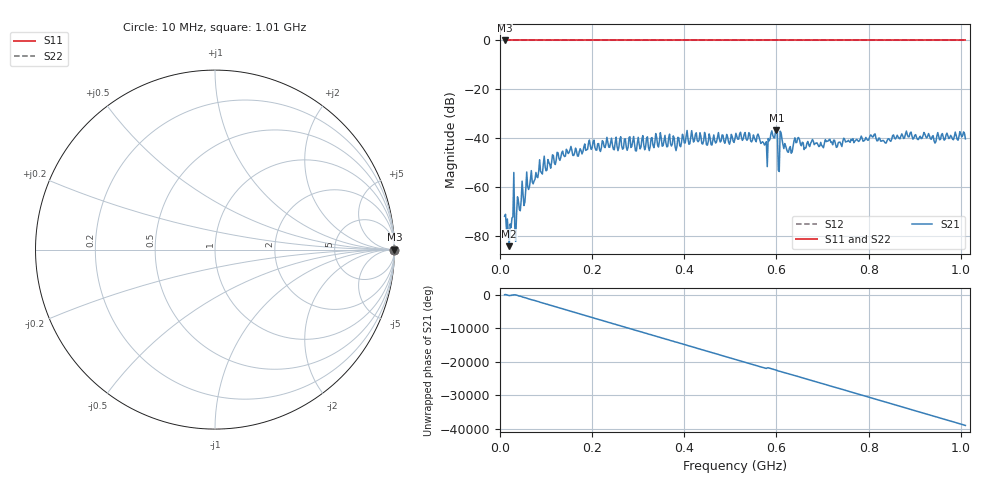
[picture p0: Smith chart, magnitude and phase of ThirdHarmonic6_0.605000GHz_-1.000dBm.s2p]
! 8/15/2025 7:47:39 PM
! C:\ANRITSUVNA\TEMP\TEMP.S2P
! CHANNEL.1
! TR.MEASUREMENT
! RAW.DATA
! RF.CORRECTION.OFF
! AVERAGING.OFF
! IF.BANDWIDTH: 5KHZ
! SWEEPTYPE:  FREQ.SWEEP(Linear)
! Reference Plane Port Info
! PORT:  PORT1  PORT2
! DISTANCE:  0  m  0  m
! TIME:  0  s  0  s
! PHASE.OFFSET:  0  deg.  0  deg.
! LOSS:  0  dB  0  dB
! REF.LOSS:  0  dB  0  dB
! REF.FREQ:  0  Hz  0  Hz
! Power Info
! POWER:  -20  dBm  -20  dBm
! EFF.POWER:  -20  dBm  -20  dBm
! SOURCE.ATTEN:  0  dB  0  dB
! TEST.ATTEN:  0  dB  0  dB
# GHZ S RI R 50.0
! FREQ.GHZ  S11RE  S11IM  S21RE  S21IM  S12RE  S12IM  S22RE  S22IM
!; PortSelection: Port_12
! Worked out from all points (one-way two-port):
!   501 points, 10 MHz to 1.01 GHz, reference 50 ohm
!   highest |S21| = -36.74 dB at 600 MHz (marker M1); lowest = -84.2 dB at 20 MHz (marker M2)
!   lowest |S11| = 0.0 dB at 10 MHz (marker M3)
!   |S11| at or under -10 dB: nowhere
!   |S22| runs from 0.0 to 0.0 dB; largest |S21 - S12| = 1
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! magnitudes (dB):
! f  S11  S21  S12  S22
! 10 MHz  0.0  -72.0  0.0  0.0
! 20 MHz  0.0  -84.2  0.0  0.0
! 24 MHz  0.0  -76.6  0.0  0.0
! 26 MHz  0.0  -72.7  0.0  0.0
! 36 MHz  0.0  -71.0  0.0  0.0
! 60 MHz  0.0  -59.8  0.0  0.0
! 82 MHz  0.0  -56.2  0.0  0.0
! 178 MHz  0.0  -46.5  0.0  0.0
! 344 MHz  0.0  -43.6  0.0  0.0
! 510 MHz  0.0  -40.1  0.0  0.0
! 560 MHz  0.0  -38.3  0.0  0.0
! 576 MHz  0.0  -42.4  0.0  0.0
! 586 MHz  0.0  -40.4  0.0  0.0
! 600 MHz  0.0  -36.7  0.0  0.0
! 602 MHz  0.0  -37.7  0.0  0.0
! 608 MHz  0.0  -37.1  0.0  0.0
! 612 MHz  0.0  -40.4  0.0  0.0
! 628 MHz  0.0  -44.1  0.0  0.0
! 644 MHz  0.0  -41.8  0.0  0.0
! 678 MHz  0.0  -40.5  0.0  0.0
! 844 MHz  0.0  -40.3  0.0  0.0
! 1.01 GHz  0.0  -40.3  0.0  0.0
